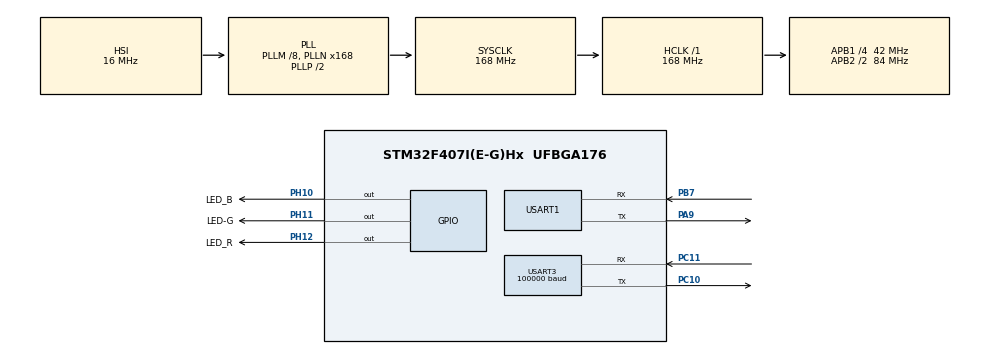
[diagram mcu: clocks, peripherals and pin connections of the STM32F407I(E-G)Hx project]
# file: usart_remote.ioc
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Dma.Request0=USART1_TX
Dma.Request1=USART3_RX
Dma.USART1_TX.0.Direction=DMA_MEMORY_TO_PERIPH
Dma.USART1_TX.0.FIFOMode=DMA_FIFOMODE_DISABLE
Dma.USART1_TX.0.Instance=DMA2_Stream7
Dma.USART1_TX.0.MemDataAlignment=DMA_MDATAALIGN_BYTE
Dma.USART1_TX.0.MemInc=DMA_MINC_ENABLE
Dma.USART1_TX.0.Mode=DMA_NORMAL
Dma.USART1_TX.0.PeriphDataAlignment=DMA_PDATAALIGN_BYTE
Dma.USART1_TX.0.PeriphInc=DMA_PINC_DISABLE
Dma.USART1_TX.0.Priority=DMA_PRIORITY_VERY_HIGH
Dma.USART3_RX.1.Direction=DMA_PERIPH_TO_MEMORY
Dma.USART3_RX.1.FIFOMode=DMA_FIFOMODE_DISABLE
Dma.USART3_RX.1.Instance=DMA1_Stream1
Dma.USART3_RX.1.MemDataAlignment=DMA_MDATAALIGN_BYTE
Dma.USART3_RX.1.MemInc=DMA_MINC_ENABLE
Dma.USART3_RX.1.Mode=DMA_CIRCULAR
Dma.USART3_RX.1.PeriphDataAlignment=DMA_PDATAALIGN_BYTE
Dma.USART3_RX.1.PeriphInc=DMA_PINC_DISABLE
Dma.USART3_RX.1.Priority=DMA_PRIORITY_VERY_HIGH
Mcu.Family=STM32F4
Mcu.Name=STM32F407I(E-G)Hx
Mcu.Package=UFBGA176
NVIC.DMA1_Stream1_IRQn=true\:0\:0\:false\:false\:true\:false\:true\:true
NVIC.DMA2_Stream7_IRQn=true\:0\:0\:false\:false\:true\:false\:true\:true
NVIC.PriorityGroup=NVIC_PRIORITYGROUP_4
NVIC.USART1_IRQn=true\:0\:0\:false\:false\:true\:true\:true\:true
NVIC.USART3_IRQn=true\:0\:0\:false\:false\:true\:true\:true\:true
PA13.Mode=Serial_Wire
PA13.Signal=SYS_JTMS-SWDIO
PA14.Mode=Serial_Wire
PA14.Signal=SYS_JTCK-SWCLK
PA9.Mode=Asynchronous
PA9.Signal=USART1_TX
PB7.Mode=Asynchronous
PB7.Signal=USART1_RX
PC10.Mode=Asynchronous
PC10.Signal=USART3_TX
PC11.Mode=Asynchronous
PC11.Signal=USART3_RX
PH0-OSC_IN.Mode=HSE-External-Oscillator
PH0-OSC_IN.Signal=RCC_OSC_IN
PH1-OSC_OUT.Mode=HSE-External-Oscillator
PH1-OSC_OUT.Signal=RCC_OSC_OUT
PH10.GPIO_Label=LED_B
PH10.Signal=GPIO_Output
PH11.GPIO_Label=LED-G
PH11.Signal=GPIO_Output
PH12.GPIO_Label=LED_R
PH12.Signal=GPIO_Output
ProjectManager.HeapSize=0x200
ProjectManager.StackSize=0x400
ProjectManager.TargetToolchain=Makefile
RCC.48MHZClocksFreq_Value=84000000
RCC.AHBFreq_Value=168000000
RCC.APB1CLKDivider=RCC_HCLK_DIV4
RCC.APB1Freq_Value=42000000
RCC.APB1TimFreq_Value=84000000
RCC.APB2CLKDivider=RCC_HCLK_DIV2
RCC.APB2Freq_Value=84000000
RCC.APB2TimFreq_Value=168000000
RCC.CortexFreq_Value=168000000
RCC.HCLKFreq_Value=168000000
RCC.HSE_VALUE=12000000
RCC.HSI_VALUE=16000000
RCC.LSE_VALUE=32768
RCC.PLLM=8
RCC.PLLN=168
RCC.SYSCLKFreq_VALUE=168000000
RCC.SYSCLKSource=RCC_SYSCLKSOURCE_PLLCLK
RCC.VCOOutputFreq_Value=336000000
USART1.VirtualMode=VM_ASYNC
USART3.BaudRate=100000
USART3.Parity=PARITY_EVEN
USART3.VirtualMode=VM_ASYNC
board=custom

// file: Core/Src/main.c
/* USER CODE BEGIN Header */
/**
  ******************************************************************************
  * @file           : main.c
  * @brief          : Main program body
  ******************************************************************************
  * @attention
  *
  * Copyright (c) 2024 STMicroelectronics.
  * All rights reserved.
  *
  * This software is licensed under terms that can be found in the LICENSE file
  * in the root directory of this software component.
  * If no LICENSE file comes with this software, it is provided AS-IS.
  *
  ******************************************************************************
  */
/* USER CODE END Header */
#include "main.h"
#include "dma.h"
#include "usart.h"
#include "gpio.h"

/* USER CODE BEGIN Includes */
#include <stdio.h>
#include <stdarg.h>
#include "string.h"
#include "remote_control.h"
/* USER CODE END Includes */

/* USER CODE BEGIN PV */
const RC_ctrl_t *local_rc_ctrl;
uint8_t RxBuffer[100];
uint8_t len;
/* USER CODE END PV */

void SystemClock_Config(void);

/* USER CODE BEGIN 0 */
void usart_printf(const char *fmt,...)
{
  static uint8_t tx_buf[256] = {0};
  static va_list ap;
  static uint16_t len;
  va_start(ap, fmt);

  //return length of string
  len = vsprintf((char *)tx_buf, fmt, ap);

  va_end(ap);

  HAL_UART_Transmit_DMA(&huart1,tx_buf, len);

}
/* USER CODE END 0 */

int main(void)
{

  /* MCU Configuration--------------------------------------------------------*/

  /* Reset of all peripherals, Initializes the Flash interface and the Systick. */
  HAL_Init();

  /* Configure the system clock */
  SystemClock_Config();

  /* Initialize all configured peripherals */
  MX_GPIO_Init();
  MX_DMA_Init();
  MX_USART1_UART_Init();
  MX_USART3_UART_Init();
  /* USER CODE BEGIN 2 */
  //enable receive interrupt and idle interrupt
  __HAL_UART_ENABLE_IT(&huart1, UART_IT_RXNE);  //receive interrupt
  __HAL_UART_ENABLE_IT(&huart1, UART_IT_IDLE);  //idle interrupt
  remote_control_init();
  local_rc_ctrl = get_remote_control_point();
  /* USER CODE END 2 */

  /* Infinite loop */
  /* USER CODE BEGIN WHILE */
  while (1)
  {
    HAL_GPIO_WritePin(LED_R_GPIO_Port, LED_R_Pin, GPIO_PIN_SET);
    HAL_GPIO_WritePin(LED_G_GPIO_Port, LED_G_Pin, GPIO_PIN_SET);
    HAL_GPIO_WritePin(LED_B_GPIO_Port, LED_B_Pin, GPIO_PIN_SET);
    HAL_Delay(500);
    HAL_GPIO_WritePin(LED_R_GPIO_Port, LED_R_Pin, GPIO_PIN_RESET);
    HAL_GPIO_WritePin(LED_G_GPIO_Port, LED_G_Pin, GPIO_PIN_RESET);
    HAL_GPIO_WritePin(LED_B_GPIO_Port, LED_B_Pin, GPIO_PIN_RESET);
    HAL_Delay(500);
    /* USER CODE END WHILE */

    /* USER CODE BEGIN 3 */
    usart_printf(
    "**********\r\n\
    ch0:%d\r\n\
    ch1:%d\r\n\
    ch2:%d\r\n\
    ch3:%d\r\n\
    ch4:%d\r\n\
    s1:%d\r\n\
    s2:%d\r\n\
    mouse_x:%d\r\n\
    mouse_y:%d\r\n\
    press_l:%d\r\n\
    press_r:%d\r\n\
    key:%d\r\n\
    **********\r\n",
    local_rc_ctrl->rc.ch[0], local_rc_ctrl->rc.ch[1], local_rc_ctrl->rc.ch[2], local_rc_ctrl->rc.ch[3], local_rc_ctrl->rc.ch[4],
    local_rc_ctrl->rc.s[0], local_rc_ctrl->rc.s[1],
    local_rc_ctrl->mouse.x, local_rc_ctrl->mouse.y,local_rc_ctrl->mouse.z, local_rc_ctrl->mouse.press_l, local_rc_ctrl->mouse.press_r,
    local_rc_ctrl->key.v);
  }
  /* USER CODE END 3 */
}

void SystemClock_Config(void)
{
  RCC_OscInitTypeDef RCC_OscInitStruct = {0};
  RCC_ClkInitTypeDef RCC_ClkInitStruct = {0};

  /** Configure the main internal regulator output voltage
  */
  __HAL_RCC_PWR_CLK_ENABLE();
  __HAL_PWR_VOLTAGESCALING_CONFIG(PWR_REGULATOR_VOLTAGE_SCALE1);

  /** Initializes the RCC Oscillators according to the specified parameters
  * in the RCC_OscInitTypeDef structure.
  */
  RCC_OscInitStruct.OscillatorType = RCC_OSCILLATORTYPE_HSI;
  RCC_OscInitStruct.HSIState = RCC_HSI_ON;
  RCC_OscInitStruct.HSICalibrationValue = RCC_HSICALIBRATION_DEFAULT;
  RCC_OscInitStruct.PLL.PLLState = RCC_PLL_ON;
  RCC_OscInitStruct.PLL.PLLSource = RCC_PLLSOURCE_HSI;
  RCC_OscInitStruct.PLL.PLLM = 8;
  RCC_OscInitStruct.PLL.PLLN = 168;
  RCC_OscInitStruct.PLL.PLLP = RCC_PLLP_DIV2;
  RCC_OscInitStruct.PLL.PLLQ = 4;
  if (HAL_RCC_OscConfig(&RCC_OscInitStruct) != HAL_OK)
  {
    Error_Handler();
  }

  /** Initializes the CPU, AHB and APB buses clocks
  */
  RCC_ClkInitStruct.ClockType = RCC_CLOCKTYPE_HCLK|RCC_CLOCKTYPE_SYSCLK
                              |RCC_CLOCKTYPE_PCLK1|RCC_CLOCKTYPE_PCLK2;
  RCC_ClkInitStruct.SYSCLKSource = RCC_SYSCLKSOURCE_PLLCLK;
  RCC_ClkInitStruct.AHBCLKDivider = RCC_SYSCLK_DIV1;
  RCC_ClkInitStruct.APB1CLKDivider = RCC_HCLK_DIV4;
  RCC_ClkInitStruct.APB2CLKDivider = RCC_HCLK_DIV2;

  if (HAL_RCC_ClockConfig(&RCC_ClkInitStruct, FLASH_LATENCY_5) != HAL_OK)
  {
    Error_Handler();
  }
}

void Error_Handler(void)
{
  __disable_irq();
  while (1)
  {
  }
}
